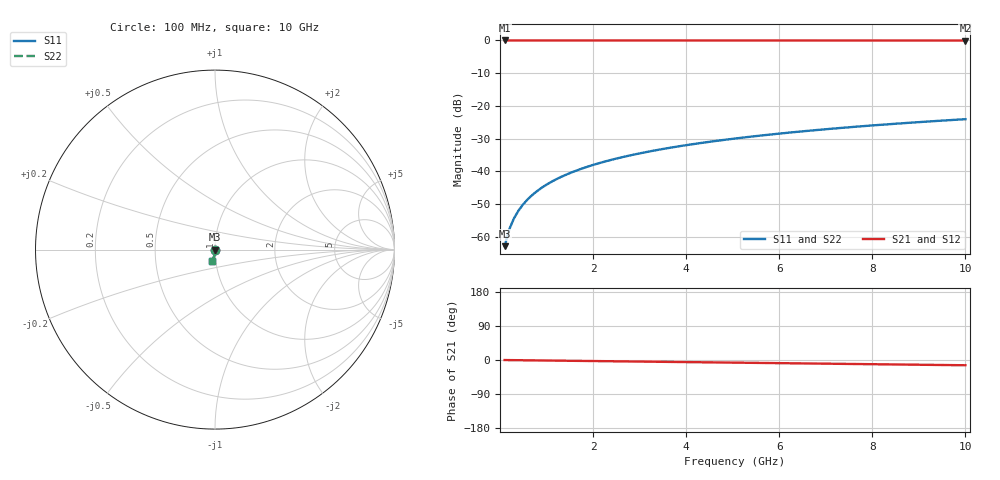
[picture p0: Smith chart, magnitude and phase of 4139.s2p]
# Hz S RI R 50.00
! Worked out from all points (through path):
!   100 points, 100 MHz to 10 GHz, reference 50 ohm
!   highest |S21| = 0.00 dB at 100 MHz (marker M1); lowest = 0.0 dB at 10 GHz (marker M2)
!   group delay of S21, straight-line fit = 3.86 ps
!   lowest |S11| = -62.8 dB at 100 MHz (marker M3), VSWR 1.00, Z = 50 - j0.0627 ohm
!   |S11| at or under -10 dB: start of sweep to end of sweep
!   |S22| runs from -62.8 to -24.1 dB; largest |S21 - S12| = 0
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1e8  0.000357 -0.000626  0.9996 -0.0024  0.9996 -0.0024  0.000357 -0.000626
2e8  0.000353 -0.00125  0.9996 -0.00479  0.9996 -0.00479  0.000353 -0.00125
3e8  0.000346 -0.00188  0.9996 -0.00719  0.9996 -0.00719  0.000346 -0.00188
4e8  0.000336 -0.00251  0.9996 -0.00959  0.9996 -0.00959  0.000336 -0.00251
5e8  0.000322 -0.00313  0.9995 -0.012  0.9995 -0.012  0.000322 -0.00313
6e8  0.000305 -0.00376  0.9995 -0.0144  0.9995 -0.0144  0.000305 -0.00376
7e8  0.000285 -0.00438  0.9995 -0.0168  0.9995 -0.0168  0.000285 -0.00438
8e8  0.000262 -0.00501  0.9994 -0.0192  0.9994 -0.0192  0.000262 -0.00501
9e8  0.000236 -0.00564  0.9994 -0.0216  0.9994 -0.0216  0.000236 -0.00564
1.1e9  0.000175 -0.00689  0.9992 -0.0264  0.9992 -0.0264  0.000175 -0.00689
1.4e9  5.98e-05 -0.00877  0.999 -0.0336  0.999 -0.0336  5.98e-05 -0.00877
1.8e9  -0.000136 -0.0113  0.9986 -0.0432  0.9986 -0.0432  -0.000136 -0.0113
2.1e9  -0.000315 -0.0132  0.9982 -0.0504  0.9982 -0.0504  -0.000315 -0.0132
2.5e9  -0.000597 -0.0157  0.9977 -0.06  0.9977 -0.06  -0.000597 -0.0157
2.9e9  -0.000927 -0.0182  0.997 -0.0696  0.997 -0.0696  -0.000927 -0.0182
3.4e9  -0.00141 -0.0213  0.996 -0.0816  0.996 -0.0816  -0.00141 -0.0213
4.2e9  -0.00234 -0.0263  0.9941 -0.1009  0.9941 -0.1009  -0.00234 -0.0263
5.1e9  -0.00361 -0.0319  0.9915 -0.1225  0.9915 -0.1225  -0.00361 -0.0319
5.9e9  -0.00496 -0.0368  0.9887 -0.1417  0.9887 -0.1417  -0.00496 -0.0368
6.7e9  -0.00649 -0.0417  0.9856 -0.1609  0.9856 -0.1609  -0.00649 -0.0417
8.4e9  -0.0104 -0.0518  0.9775 -0.2016  0.9775 -0.2016  -0.0104 -0.0518
1e10  -0.0148 -0.0609  0.9682 -0.2396  0.9682 -0.2396  -0.0148 -0.0609
